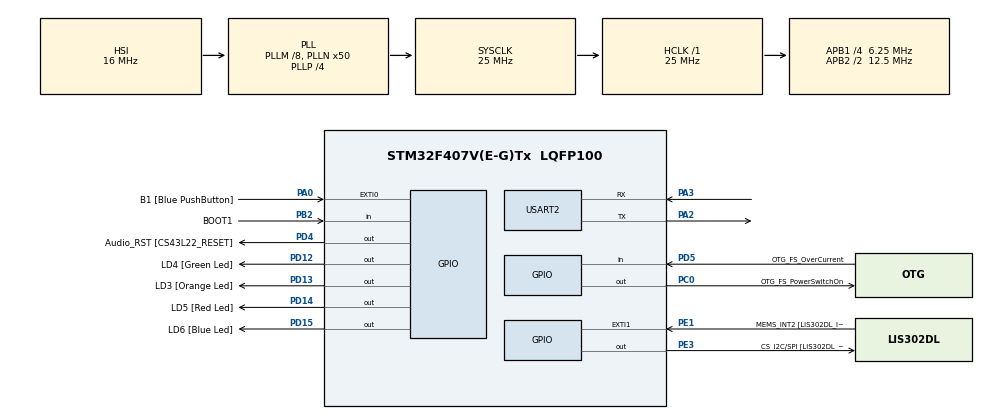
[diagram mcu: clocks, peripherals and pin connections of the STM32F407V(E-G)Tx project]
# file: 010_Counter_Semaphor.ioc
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Mcu.Family=STM32F4
Mcu.Name=STM32F407V(E-G)Tx
Mcu.Package=LQFP100
NVIC.EXTI0_IRQn=true\:6\:0\:true\:false\:true\:true\:true\:true
NVIC.PriorityGroup=NVIC_PRIORITYGROUP_4
NVIC.TIM6_DAC_IRQn=true\:0\:0\:false\:false\:true\:false\:true\:true
NVIC.TimeBase=TIM6_DAC_IRQn
NVIC.TimeBaseIP=TIM6
PA0-WKUP.GPIO_Label=B1 [Blue PushButton]
PA0-WKUP.Signal=GPXTI0
PA10.GPIO_Label=OTG_FS_ID
PA10.GPIO_Mode=GPIO_MODE_AF_PP
PA10.GPIO_PuPd=GPIO_NOPULL
PA10.GPIO_Speed=GPIO_SPEED_FREQ_LOW
PA10.Signal=USB_OTG_FS_ID
PA11.GPIO_Label=OTG_FS_DM
PA11.GPIO_Mode=GPIO_MODE_AF_PP
PA11.GPIO_PuPd=GPIO_NOPULL
PA11.GPIO_Speed=GPIO_SPEED_FREQ_LOW
PA11.Signal=USB_OTG_FS_DM
PA12.GPIO_Label=OTG_FS_DP
PA12.GPIO_Mode=GPIO_MODE_AF_PP
PA12.GPIO_PuPd=GPIO_NOPULL
PA12.GPIO_Speed=GPIO_SPEED_FREQ_LOW
PA12.Signal=USB_OTG_FS_DP
PA13.GPIO_Label=SWDIO
PA13.Signal=SYS_JTMS-SWDIO
PA14.GPIO_Label=SWCLK
PA14.Signal=SYS_JTCK-SWCLK
PA2.Mode=Asynchronous
PA2.Signal=USART2_TX
PA3.Mode=Asynchronous
PA3.Signal=USART2_RX
PA4.GPIO_Label=I2S3_WS [CS43L22_LRCK]
PA4.GPIO_Mode=GPIO_MODE_AF_PP
PA4.GPIO_PuPd=GPIO_NOPULL
PA4.GPIO_Speed=GPIO_SPEED_FREQ_LOW
PA4.Signal=I2S3_WS
PA5.GPIO_Label=SPI1_SCK [LIS302DL_SCL/SPC]
PA5.GPIO_Mode=GPIO_MODE_AF_PP
PA5.GPIO_PuPd=GPIO_NOPULL
PA5.GPIO_Speed=GPIO_SPEED_FREQ_LOW
PA5.Signal=SPI1_SCK
PA6.GPIO_Label=SPI1_MISO [LIS302DL_SDO]
PA6.GPIO_Mode=GPIO_MODE_AF_PP
PA6.GPIO_PuPd=GPIO_NOPULL
PA6.GPIO_Speed=GPIO_SPEED_FREQ_LOW
PA6.Signal=SPI1_MISO
PA7.GPIO_Label=SPI1_MOSI [LIS302DL_SDA/SDI/SDO]
PA7.GPIO_Mode=GPIO_MODE_AF_PP
PA7.GPIO_PuPd=GPIO_NOPULL
PA7.GPIO_Speed=GPIO_SPEED_FREQ_LOW
PA7.Signal=SPI1_MOSI
PA9.GPIO_Label=VBUS_FS
PA9.GPIO_Mode=GPIO_MODE_INPUT
PA9.GPIO_PuPd=GPIO_NOPULL
PA9.Signal=USB_OTG_FS_VBUS
PB10.GPIO_Label=CLK_IN [MP45DT02_CLK]
PB10.GPIO_Mode=GPIO_MODE_AF_PP
PB10.GPIO_PuPd=GPIO_NOPULL
PB10.GPIO_Speed=GPIO_SPEED_FREQ_LOW
PB10.Signal=I2S2_CK
PB2.GPIO_Label=BOOT1
PB2.GPIO_Mode=GPIO_MODE_INPUT
PB2.GPIO_PuPd=GPIO_NOPULL
PB2.Signal=GPIO_Input
PB3.GPIO_Label=SWO
PB3.Signal=SYS_JTDO-SWO
PB6.GPIO_Label=Audio_SCL [CS43L22_SCL]
PB6.GPIO_Mode=GPIO_MODE_AF_OD
PB6.GPIO_PuPd=GPIO_NOPULL
PB6.GPIO_Speed=GPIO_SPEED_FREQ_LOW
PB6.Signal=I2C1_SCL
PB9.GPIO_Label=Audio_SDA [CS43L22_SDA]
PB9.GPIO_Mode=GPIO_MODE_AF_OD
PB9.GPIO_PuPd=GPIO_NOPULL
PB9.GPIO_Speed=GPIO_SPEED_FREQ_LOW
PB9.Signal=I2C1_SDA
PC0.GPIO_Label=OTG_FS_PowerSwitchOn
PC0.GPIO_PuPd=GPIO_NOPULL
PC0.GPIO_Speed=GPIO_SPEED_FREQ_LOW
PC0.PinState=GPIO_PIN_SET
PC0.Signal=GPIO_Output
PC10.GPIO_Label=I2S3_SCK [CS43L22_SCLK]
PC10.GPIO_Mode=GPIO_MODE_AF_PP
PC10.GPIO_PuPd=GPIO_NOPULL
PC10.GPIO_Speed=GPIO_SPEED_FREQ_LOW
PC10.Signal=I2S3_CK
PC12.GPIO_Label=I2S3_SD [CS43L22_SDIN]
PC12.GPIO_Mode=GPIO_MODE_AF_PP
PC12.GPIO_PuPd=GPIO_NOPULL
PC12.GPIO_Speed=GPIO_SPEED_FREQ_LOW
PC12.Signal=I2S3_SD
PC14-OSC32_IN.GPIO_Label=PC14-OSC32_IN
PC14-OSC32_IN.Signal=RCC_OSC32_IN
PC15-OSC32_OUT.GPIO_Label=PC15-OSC32_OUT
PC15-OSC32_OUT.Signal=RCC_OSC32_OUT
PC3.GPIO_Label=PDM_OUT [MP45DT02_DOUT]
PC3.GPIO_Mode=GPIO_MODE_AF_PP
PC3.GPIO_PuPd=GPIO_NOPULL
PC3.GPIO_Speed=GPIO_SPEED_FREQ_LOW
PC3.Signal=I2S2_SD
PC7.GPIO_Label=I2S3_MCK [CS43L22_MCLK]
PC7.GPIO_Mode=GPIO_MODE_AF_PP
PC7.GPIO_PuPd=GPIO_NOPULL
PC7.GPIO_Speed=GPIO_SPEED_FREQ_LOW
PC7.Signal=I2S3_MCK
PD12.GPIO_Label=LD4 [Green Led]
PD12.GPIO_PuPd=GPIO_NOPULL
PD12.GPIO_Speed=GPIO_SPEED_FREQ_LOW
PD12.Signal=GPIO_Output
PD13.GPIO_Label=LD3 [Orange Led]
PD13.GPIO_PuPd=GPIO_NOPULL
PD13.GPIO_Speed=GPIO_SPEED_FREQ_LOW
PD13.Signal=GPIO_Output
PD14.GPIO_Label=LD5 [Red Led]
PD14.GPIO_PuPd=GPIO_NOPULL
PD14.GPIO_Speed=GPIO_SPEED_FREQ_LOW
PD14.Signal=GPIO_Output
PD15.GPIO_Label=LD6 [Blue Led]
PD15.GPIO_PuPd=GPIO_NOPULL
PD15.GPIO_Speed=GPIO_SPEED_FREQ_LOW
PD15.Signal=GPIO_Output
PD4.GPIO_Label=Audio_RST [CS43L22_RESET]
PD4.GPIO_PuPd=GPIO_NOPULL
PD4.GPIO_Speed=GPIO_SPEED_FREQ_LOW
PD4.Signal=GPIO_Output
PD5.GPIO_Label=OTG_FS_OverCurrent
PD5.GPIO_Mode=GPIO_MODE_INPUT
PD5.GPIO_PuPd=GPIO_NOPULL
PD5.Signal=GPIO_Input
PE1.GPIO_Label=MEMS_INT2 [LIS302DL_INT2]
PE1.GPIO_ModeDefaultEXTI=GPIO_MODE_EVT_RISING
PE1.GPIO_PuPd=GPIO_NOPULL
PE1.Signal=GPXTI1
PE3.GPIO_Label=CS_I2C/SPI [LIS302DL_CS_I2C/SPI]
PE3.GPIO_PuPd=GPIO_NOPULL
PE3.GPIO_Speed=GPIO_SPEED_FREQ_LOW
PE3.Signal=GPIO_Output
PH0-OSC_IN.GPIO_Label=PH0-OSC_IN
PH0-OSC_IN.Signal=RCC_OSC_IN
PH1-OSC_OUT.GPIO_Label=PH1-OSC_OUT
PH1-OSC_OUT.Signal=RCC_OSC_OUT
ProjectManager.HeapSize=0x200
ProjectManager.StackSize=0x400
ProjectManager.TargetToolchain=STM32CubeIDE
RCC.48MHZClocksFreq_Value=14285714.285714285
RCC.AHBFreq_Value=25000000
RCC.APB1CLKDivider=RCC_HCLK_DIV4
RCC.APB1Freq_Value=6250000
RCC.APB1TimFreq_Value=12500000
RCC.APB2CLKDivider=RCC_HCLK_DIV2
RCC.APB2Freq_Value=12500000
RCC.APB2TimFreq_Value=25000000
RCC.CortexFreq_Value=25000000
RCC.HCLKFreq_Value=25000000
RCC.HSE_VALUE=8000000
RCC.HSI_VALUE=16000000
RCC.LSE_VALUE=32768
RCC.PLLM=8
RCC.PLLN=50
RCC.PLLP=RCC_PLLP_DIV4
RCC.PLLQ=7
RCC.SYSCLKFreq_VALUE=25000000
RCC.SYSCLKSource=RCC_SYSCLKSOURCE_PLLCLK
RCC.VCOOutputFreq_Value=100000000
USART2.VirtualMode=VM_ASYNC
VP_SYS_VS_tim6.Mode=TIM6
board=STM32F407G-DISC1

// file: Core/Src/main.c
/* USER CODE BEGIN Header */
/**
  ******************************************************************************
  * @file           : main.c
  * @brief          : Main program body
  ******************************************************************************
  * @attention
  *
  * Copyright (c) 2024 STMicroelectronics.
  * All rights reserved.
  *
  * This software is licensed under terms that can be found in the LICENSE file
  * in the root directory of this software component.
  * If no LICENSE file comes with this software, it is provided AS-IS.
  *
  ******************************************************************************
  */
/* USER CODE END Header */
#include "main.h"

/* USER CODE BEGIN PTD */
SemaphoreHandle_t handle_semaphore;

/* USER CODE END PTD */

UART_HandleTypeDef huart2;

void SystemClock_Config(void);
static void MX_GPIO_Init(void);
static void MX_USART2_UART_Init(void);
/* USER CODE BEGIN PFP */
void task1(void* param);
void task_semaph(void* param);
/* USER CODE END PFP */

int main(void)
{
  /* USER CODE BEGIN 1 */
	BaseType_t status;
  /* USER CODE END 1 */

  /* MCU Configuration--------------------------------------------------------*/

  /* Reset of all peripherals, Initializes the Flash interface and the Systick. */
  HAL_Init();

  /* Configure the system clock */
  SystemClock_Config();

  /* Initialize all configured peripherals */
  MX_GPIO_Init();
  MX_USART2_UART_Init();
  /* USER CODE BEGIN 2 */

  handle_semaphore=xSemaphoreCreateCounting(5,0);

  status=xTaskCreate(task1, "task1", 500, NULL, 2, NULL);

  status=xTaskCreate(task_semaph, "taskSemaphoreTake", 500, NULL, 2, NULL);

  vTaskStartScheduler();

  /* USER CODE END 2 */

  /* Infinite loop */
  while (1)
  {

  }
}

void SystemClock_Config(void)
{
  RCC_OscInitTypeDef RCC_OscInitStruct = {0};
  RCC_ClkInitTypeDef RCC_ClkInitStruct = {0};

  /** Configure the main internal regulator output voltage
  */
  __HAL_RCC_PWR_CLK_ENABLE();
  __HAL_PWR_VOLTAGESCALING_CONFIG(PWR_REGULATOR_VOLTAGE_SCALE1);

  /** Initializes the RCC Oscillators according to the specified parameters
  * in the RCC_OscInitTypeDef structure.
  */
  RCC_OscInitStruct.OscillatorType = RCC_OSCILLATORTYPE_HSI;
  RCC_OscInitStruct.HSIState = RCC_HSI_ON;
  RCC_OscInitStruct.HSICalibrationValue = RCC_HSICALIBRATION_DEFAULT;
  RCC_OscInitStruct.PLL.PLLState = RCC_PLL_ON;
  RCC_OscInitStruct.PLL.PLLSource = RCC_PLLSOURCE_HSI;
  RCC_OscInitStruct.PLL.PLLM = 8;
  RCC_OscInitStruct.PLL.PLLN = 50;
  RCC_OscInitStruct.PLL.PLLP = RCC_PLLP_DIV4;
  RCC_OscInitStruct.PLL.PLLQ = 7;
  if (HAL_RCC_OscConfig(&RCC_OscInitStruct) != HAL_OK)
  {
    Error_Handler();
  }

  /** Initializes the CPU, AHB and APB buses clocks
  */
  RCC_ClkInitStruct.ClockType = RCC_CLOCKTYPE_HCLK|RCC_CLOCKTYPE_SYSCLK
                              |RCC_CLOCKTYPE_PCLK1|RCC_CLOCKTYPE_PCLK2;
  RCC_ClkInitStruct.SYSCLKSource = RCC_SYSCLKSOURCE_PLLCLK;
  RCC_ClkInitStruct.AHBCLKDivider = RCC_SYSCLK_DIV1;
  RCC_ClkInitStruct.APB1CLKDivider = RCC_HCLK_DIV4;
  RCC_ClkInitStruct.APB2CLKDivider = RCC_HCLK_DIV2;

  if (HAL_RCC_ClockConfig(&RCC_ClkInitStruct, FLASH_LATENCY_0) != HAL_OK)
  {
    Error_Handler();
  }
}

static void MX_USART2_UART_Init(void)
{

  huart2.Instance = USART2;
  huart2.Init.BaudRate = 115200;
  huart2.Init.WordLength = UART_WORDLENGTH_8B;
  huart2.Init.StopBits = UART_STOPBITS_1;
  huart2.Init.Parity = UART_PARITY_NONE;
  huart2.Init.Mode = UART_MODE_TX_RX;
  huart2.Init.HwFlowCtl = UART_HWCONTROL_NONE;
  huart2.Init.OverSampling = UART_OVERSAMPLING_16;
  if (HAL_UART_Init(&huart2) != HAL_OK)
  {
    Error_Handler();
  }

}

static void MX_GPIO_Init(void)
{
  GPIO_InitTypeDef GPIO_InitStruct = {0};

  /* GPIO Ports Clock Enable */
  __HAL_RCC_GPIOE_CLK_ENABLE();
  __HAL_RCC_GPIOC_CLK_ENABLE();
  __HAL_RCC_GPIOH_CLK_ENABLE();
  __HAL_RCC_GPIOA_CLK_ENABLE();
  __HAL_RCC_GPIOB_CLK_ENABLE();
  __HAL_RCC_GPIOD_CLK_ENABLE();

  /*Configure GPIO pin Output Level */
  HAL_GPIO_WritePin(CS_I2C_SPI_GPIO_Port, CS_I2C_SPI_Pin, GPIO_PIN_RESET);

  /*Configure GPIO pin Output Level */
  HAL_GPIO_WritePin(OTG_FS_PowerSwitchOn_GPIO_Port, OTG_FS_PowerSwitchOn_Pin, GPIO_PIN_SET);

  /*Configure GPIO pin Output Level */
  HAL_GPIO_WritePin(GPIOD, LD4_Pin|LD3_Pin|LD5_Pin|LD6_Pin
                          |Audio_RST_Pin, GPIO_PIN_RESET);

  /*Configure GPIO pin : CS_I2C_SPI_Pin */
  GPIO_InitStruct.Pin = CS_I2C_SPI_Pin;
  GPIO_InitStruct.Mode = GPIO_MODE_OUTPUT_PP;
  GPIO_InitStruct.Pull = GPIO_NOPULL;
  GPIO_InitStruct.Speed = GPIO_SPEED_FREQ_LOW;
  HAL_GPIO_Init(CS_I2C_SPI_GPIO_Port, &GPIO_InitStruct);

  /*Configure GPIO pin : OTG_FS_PowerSwitchOn_Pin */
  GPIO_InitStruct.Pin = OTG_FS_PowerSwitchOn_Pin;
  GPIO_InitStruct.Mode = GPIO_MODE_OUTPUT_PP;
  GPIO_InitStruct.Pull = GPIO_NOPULL;
  GPIO_InitStruct.Speed = GPIO_SPEED_FREQ_LOW;
  HAL_GPIO_Init(OTG_FS_PowerSwitchOn_GPIO_Port, &GPIO_InitStruct);

  /*Configure GPIO pin : PDM_OUT_Pin */
  GPIO_InitStruct.Pin = PDM_OUT_Pin;
  GPIO_InitStruct.Mode = GPIO_MODE_AF_PP;
  GPIO_InitStruct.Pull = GPIO_NOPULL;
  GPIO_InitStruct.Speed = GPIO_SPEED_FREQ_LOW;
  GPIO_InitStruct.Alternate = GPIO_AF5_SPI2;
  HAL_GPIO_Init(PDM_OUT_GPIO_Port, &GPIO_InitStruct);

  /*Configure GPIO pin : B1_Pin */
  GPIO_InitStruct.Pin = B1_Pin;
  GPIO_InitStruct.Mode = GPIO_MODE_IT_RISING;
  GPIO_InitStruct.Pull = GPIO_NOPULL;
  HAL_GPIO_Init(B1_GPIO_Port, &GPIO_InitStruct);

  /*Configure GPIO pin : I2S3_WS_Pin */
  GPIO_InitStruct.Pin = I2S3_WS_Pin;
  GPIO_InitStruct.Mode = GPIO_MODE_AF_PP;
  GPIO_InitStruct.Pull = GPIO_NOPULL;
  GPIO_InitStruct.Speed = GPIO_SPEED_FREQ_LOW;
  GPIO_InitStruct.Alternate = GPIO_AF6_SPI3;
  HAL_GPIO_Init(I2S3_WS_GPIO_Port, &GPIO_InitStruct);

  /*Configure GPIO pins : SPI1_SCK_Pin SPI1_MISO_Pin SPI1_MOSI_Pin */
  GPIO_InitStruct.Pin = SPI1_SCK_Pin|SPI1_MISO_Pin|SPI1_MOSI_Pin;
  GPIO_InitStruct.Mode = GPIO_MODE_AF_PP;
  GPIO_InitStruct.Pull = GPIO_NOPULL;
  GPIO_InitStruct.Speed = GPIO_SPEED_FREQ_LOW;
  GPIO_InitStruct.Alternate = GPIO_AF5_SPI1;
  HAL_GPIO_Init(GPIOA, &GPIO_InitStruct);

  /*Configure GPIO pin : BOOT1_Pin */
  GPIO_InitStruct.Pin = BOOT1_Pin;
  GPIO_InitStruct.Mode = GPIO_MODE_INPUT;
  GPIO_InitStruct.Pull = GPIO_NOPULL;
  HAL_GPIO_Init(BOOT1_GPIO_Port, &GPIO_InitStruct);

  /*Configure GPIO pin : CLK_IN_Pin */
  GPIO_InitStruct.Pin = CLK_IN_Pin;
  GPIO_InitStruct.Mode = GPIO_MODE_AF_PP;
  GPIO_InitStruct.Pull = GPIO_NOPULL;
  GPIO_InitStruct.Speed = GPIO_SPEED_FREQ_LOW;
  GPIO_InitStruct.Alternate = GPIO_AF5_SPI2;
  HAL_GPIO_Init(CLK_IN_GPIO_Port, &GPIO_InitStruct);

  /*Configure GPIO pins : LD4_Pin LD3_Pin LD5_Pin LD6_Pin
                           Audio_RST_Pin */
  GPIO_InitStruct.Pin = LD4_Pin|LD3_Pin|LD5_Pin|LD6_Pin
                          |Audio_RST_Pin;
  GPIO_InitStruct.Mode = GPIO_MODE_OUTPUT_PP;
  GPIO_InitStruct.Pull = GPIO_NOPULL;
  GPIO_InitStruct.Speed = GPIO_SPEED_FREQ_LOW;
  HAL_GPIO_Init(GPIOD, &GPIO_InitStruct);

  /*Configure GPIO pins : I2S3_MCK_Pin I2S3_SCK_Pin I2S3_SD_Pin */
  GPIO_InitStruct.Pin = I2S3_MCK_Pin|I2S3_SCK_Pin|I2S3_SD_Pin;
  GPIO_InitStruct.Mode = GPIO_MODE_AF_PP;
  GPIO_InitStruct.Pull = GPIO_NOPULL;
  GPIO_InitStruct.Speed = GPIO_SPEED_FREQ_LOW;
  GPIO_InitStruct.Alternate = GPIO_AF6_SPI3;
  HAL_GPIO_Init(GPIOC, &GPIO_InitStruct);

  /*Configure GPIO pin : VBUS_FS_Pin */
  GPIO_InitStruct.Pin = VBUS_FS_Pin;
  GPIO_InitStruct.Mode = GPIO_MODE_INPUT;
  GPIO_InitStruct.Pull = GPIO_NOPULL;
  HAL_GPIO_Init(VBUS_FS_GPIO_Port, &GPIO_InitStruct);

  /*Configure GPIO pins : OTG_FS_ID_Pin OTG_FS_DM_Pin OTG_FS_DP_Pin */
  GPIO_InitStruct.Pin = OTG_FS_ID_Pin|OTG_FS_DM_Pin|OTG_FS_DP_Pin;
  GPIO_InitStruct.Mode = GPIO_MODE_AF_PP;
  GPIO_InitStruct.Pull = GPIO_NOPULL;
  GPIO_InitStruct.Speed = GPIO_SPEED_FREQ_LOW;
  GPIO_InitStruct.Alternate = GPIO_AF10_OTG_FS;
  HAL_GPIO_Init(GPIOA, &GPIO_InitStruct);

  /*Configure GPIO pin : OTG_FS_OverCurrent_Pin */
  GPIO_InitStruct.Pin = OTG_FS_OverCurrent_Pin;
  GPIO_InitStruct.Mode = GPIO_MODE_INPUT;
  GPIO_InitStruct.Pull = GPIO_NOPULL;
  HAL_GPIO_Init(OTG_FS_OverCurrent_GPIO_Port, &GPIO_InitStruct);

  /*Configure GPIO pins : Audio_SCL_Pin Audio_SDA_Pin */
  GPIO_InitStruct.Pin = Audio_SCL_Pin|Audio_SDA_Pin;
  GPIO_InitStruct.Mode = GPIO_MODE_AF_OD;
  GPIO_InitStruct.Pull = GPIO_NOPULL;
  GPIO_InitStruct.Speed = GPIO_SPEED_FREQ_LOW;
  GPIO_InitStruct.Alternate = GPIO_AF4_I2C1;
  HAL_GPIO_Init(GPIOB, &GPIO_InitStruct);

  /*Configure GPIO pin : MEMS_INT2_Pin */
  GPIO_InitStruct.Pin = MEMS_INT2_Pin;
  GPIO_InitStruct.Mode = GPIO_MODE_EVT_RISING;
  GPIO_InitStruct.Pull = GPIO_NOPULL;
  HAL_GPIO_Init(MEMS_INT2_GPIO_Port, &GPIO_InitStruct);

  /* EXTI interrupt init*/
  HAL_NVIC_SetPriority(EXTI0_IRQn, 6, 0);
  HAL_NVIC_EnableIRQ(EXTI0_IRQn);

}

/* USER CODE BEGIN 4 */
void printmsg(char *msg)
{
    // Send each character in the message
    for(uint32_t i = 0; i < strlen(msg); i++)
    {
        // Transmit each character using HAL_UART_Transmit
        HAL_UART_Transmit(&huart2, (uint8_t *)&msg[i], 1, HAL_MAX_DELAY);
    }

    // HAL_UART_Transmit blocks until transmission is complete, so no need for additional checks
}
void task1(void*param)
{

   while(1)
   {
	   Uart_Print("Task-1 running\r\n");
		vTaskDelay(pdMS_TO_TICKS(1000));
   }
}

void task_semaph(void*param)
{

    /* As per most tasks, this task is implemented within an infinite loop. */
	while(1)
    {
		/*Because now its Counter Semaphore and Semaphoregive is called 3 times in the
		 interrupt task_semaph will run 3 times every time interrupt is called*/
		 xSemaphoreTake(handle_semaphore,portMAX_DELAY); // If semaphore is not available, the task waits for the maximum time in the blocked state.
		 Uart_Print("Task semaph running\r\n");
    }
}

/* USER CODE END 4 */

void HAL_TIM_PeriodElapsedCallback(TIM_HandleTypeDef *htim)
{
  if (htim->Instance == TIM6) {
    HAL_IncTick();
  }
}

void Error_Handler(void)
{
  __disable_irq();
  while (1)
  {
  }
}
